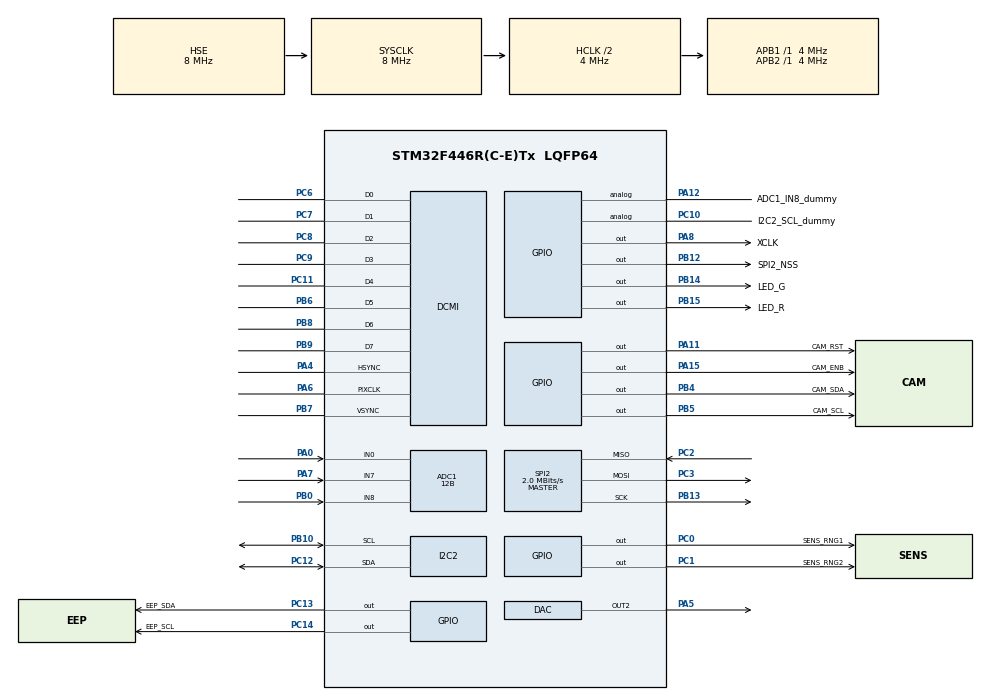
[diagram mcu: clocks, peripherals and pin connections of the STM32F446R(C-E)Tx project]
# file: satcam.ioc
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ADC1.Channel-0\#ChannelRegularConversion=ADC_CHANNEL_0
ADC1.ClockPrescaler=ADC_CLOCK_SYNC_PCLK_DIV2
ADC1.ContinuousConvMode=ENABLE
ADC1.DMAContinuousRequests=DISABLE
ADC1.DataAlign=ADC_DATAALIGN_RIGHT
ADC1.DiscontinuousConvMode=DISABLE
ADC1.EOCSelection=ADC_EOC_SEQ_CONV
ADC1.EnableAnalogWatchDog=false
ADC1.ExternalTrigConvEdge=ADC_EXTERNALTRIGCONVEDGE_NONE
ADC1.InjNumberOfConversion=0
ADC1.NbrOfConversion=1
ADC1.NbrOfConversionFlag=1
ADC1.Rank-0\#ChannelRegularConversion=1
ADC1.Resolution=ADC_RESOLUTION_12B
ADC1.SamplingTime-0\#ChannelRegularConversion=ADC_SAMPLETIME_144CYCLES
ADC1.ScanConvMode=DISABLE
ADC1.master=1
DAC.DAC_OutputBuffer2=DAC_OUTPUTBUFFER_ENABLE
DAC.DAC_Trigger2=DAC_TRIGGER_T6_TRGO
DAC.WaveGeneration2=DISABLE
DCMI.JPEGMode=DCMI_JPEG_ENABLE
DCMI.PCKPolarity=DCMI_PCKPOLARITY_RISING
DCMI.VSPolarity=DCMI_VSPOLARITY_LOW
Dma.DAC2.2.Direction=DMA_MEMORY_TO_PERIPH
Dma.DAC2.2.FIFOMode=DMA_FIFOMODE_ENABLE
Dma.DAC2.2.FIFOThreshold=DMA_FIFO_THRESHOLD_FULL
Dma.DAC2.2.Instance=DMA1_Stream6
Dma.DAC2.2.MemBurst=DMA_MBURST_INC4
Dma.DAC2.2.MemDataAlignment=DMA_MDATAALIGN_BYTE
Dma.DAC2.2.MemInc=DMA_MINC_ENABLE
Dma.DAC2.2.Mode=DMA_CIRCULAR
Dma.DAC2.2.PeriphBurst=DMA_PBURST_SINGLE
Dma.DAC2.2.PeriphDataAlignment=DMA_PDATAALIGN_BYTE
Dma.DAC2.2.PeriphInc=DMA_PINC_DISABLE
Dma.DAC2.2.Priority=DMA_PRIORITY_HIGH
Dma.DCMI.3.Direction=DMA_PERIPH_TO_MEMORY
Dma.DCMI.3.FIFOMode=DMA_FIFOMODE_ENABLE
Dma.DCMI.3.FIFOThreshold=DMA_FIFO_THRESHOLD_FULL
Dma.DCMI.3.Instance=DMA2_Stream1
Dma.DCMI.3.MemBurst=DMA_MBURST_INC4
Dma.DCMI.3.MemDataAlignment=DMA_MDATAALIGN_WORD
Dma.DCMI.3.MemInc=DMA_MINC_ENABLE
Dma.DCMI.3.Mode=DMA_NORMAL
Dma.DCMI.3.PeriphBurst=DMA_PBURST_SINGLE
Dma.DCMI.3.PeriphDataAlignment=DMA_PDATAALIGN_WORD
Dma.DCMI.3.PeriphInc=DMA_PINC_DISABLE
Dma.DCMI.3.Priority=DMA_PRIORITY_HIGH
Dma.Request0=SPI2_RX
Dma.Request1=SPI2_TX
Dma.Request2=DAC2
Dma.Request3=DCMI
Dma.SPI2_RX.0.Direction=DMA_PERIPH_TO_MEMORY
Dma.SPI2_RX.0.FIFOMode=DMA_FIFOMODE_DISABLE
Dma.SPI2_RX.0.Instance=DMA1_Stream3
Dma.SPI2_RX.0.MemDataAlignment=DMA_MDATAALIGN_BYTE
Dma.SPI2_RX.0.MemInc=DMA_MINC_ENABLE
Dma.SPI2_RX.0.Mode=DMA_NORMAL
Dma.SPI2_RX.0.PeriphDataAlignment=DMA_PDATAALIGN_BYTE
Dma.SPI2_RX.0.PeriphInc=DMA_PINC_DISABLE
Dma.SPI2_RX.0.Priority=DMA_PRIORITY_LOW
Dma.SPI2_TX.1.Direction=DMA_MEMORY_TO_PERIPH
Dma.SPI2_TX.1.FIFOMode=DMA_FIFOMODE_DISABLE
Dma.SPI2_TX.1.Instance=DMA1_Stream4
Dma.SPI2_TX.1.MemDataAlignment=DMA_MDATAALIGN_BYTE
Dma.SPI2_TX.1.MemInc=DMA_MINC_ENABLE
Dma.SPI2_TX.1.Mode=DMA_NORMAL
Dma.SPI2_TX.1.PeriphDataAlignment=DMA_PDATAALIGN_BYTE
Dma.SPI2_TX.1.PeriphInc=DMA_PINC_DISABLE
Dma.SPI2_TX.1.Priority=DMA_PRIORITY_LOW
I2C2.NoStretchMode=I2C_NOSTRETCH_DISABLE
I2C2.OwnAddress=0x3C
IWDG.Prescaler=IWDG_PRESCALER_32
IWDG.Reload=2000
Mcu.Family=STM32F4
Mcu.Name=STM32F446R(C-E)Tx
Mcu.Package=LQFP64
NVIC.DCMI_IRQn=true\:1\:0\:true\:false\:true
NVIC.DMA1_Stream3_IRQn=true\:2\:0\:true\:false\:true
NVIC.DMA1_Stream4_IRQn=true\:2\:0\:true\:false\:true
NVIC.DMA1_Stream6_IRQn=true\:1\:0\:true\:false\:true
NVIC.DMA2_Stream1_IRQn=true\:1\:0\:true\:false\:true
NVIC.I2C2_ER_IRQn=true\:0\:0\:false\:false\:true
NVIC.I2C2_EV_IRQn=true\:0\:0\:false\:false\:true
NVIC.PriorityGroup=NVIC_PRIORITYGROUP_2
NVIC.SPI2_IRQn=true\:2\:0\:true\:false\:true
PA0-WKUP.Signal=ADCx_IN0
PA11.GPIO_Label=CAM_RST
PA11.Signal=GPIO_Output
PA12.GPIO_Label=ADC1_IN8_dummy
PA12.Signal=GPIO_Analog
PA13.Mode=Trace_Asynchronous_SW
PA13.Signal=SYS_JTMS-SWDIO
PA14.Mode=Trace_Asynchronous_SW
PA14.Signal=SYS_JTCK-SWCLK
PA15.GPIO_Label=CAM_ENB
PA15.Signal=GPIO_Output
PA4.GPIO_Speed=GPIO_SPEED_FREQ_VERY_HIGH
PA4.Mode=Slave_8_bits_External_Synchro
PA4.Signal=DCMI_HSYNC
PA5.Signal=COMP_DAC2_group
PA6.GPIO_Speed=GPIO_SPEED_FREQ_VERY_HIGH
PA6.Mode=Slave_8_bits_External_Synchro
PA6.Signal=DCMI_PIXCLK
PA7.Signal=ADCx_IN7
PA8.GPIO_Label=XCLK
PA8.GPIO_Speed=GPIO_SPEED_FREQ_VERY_HIGH
PA8.Signal=GPIO_Output
PB0.Signal=ADCx_IN8
PB10.Mode=I2C
PB10.Signal=I2C2_SCL
PB12.GPIO_Label=SPI2_NSS
PB12.GPIO_Speed=GPIO_SPEED_FREQ_VERY_HIGH
PB12.PinState=GPIO_PIN_RESET
PB12.Signal=GPIO_Output
PB13.Mode=Full_Duplex_Master
PB13.Signal=SPI2_SCK
PB14.GPIO_Label=LED_G
PB14.Signal=GPIO_Output
PB15.GPIO_Label=LED_R
PB15.Signal=GPIO_Output
PB3.Mode=Trace_Asynchronous_SW
PB3.Signal=SYS_JTDO-SWO
PB4.GPIO_Label=CAM_SDA
PB4.GPIO_ModeDefaultOutputPP=GPIO_MODE_OUTPUT_OD
PB4.GPIO_PuPd=GPIO_PULLUP
PB4.GPIO_Speed=GPIO_SPEED_FREQ_HIGH
PB4.PinState=GPIO_PIN_SET
PB4.Signal=GPIO_Output
PB5.GPIO_Label=CAM_SCL
PB5.GPIO_ModeDefaultOutputPP=GPIO_MODE_OUTPUT_OD
PB5.GPIO_PuPd=GPIO_PULLUP
PB5.GPIO_Speed=GPIO_SPEED_FREQ_HIGH
PB5.PinState=GPIO_PIN_SET
PB5.Signal=GPIO_Output
PB6.GPIO_Speed=GPIO_SPEED_FREQ_VERY_HIGH
PB6.Mode=Slave_8_bits_External_Synchro
PB6.Signal=DCMI_D5
PB7.GPIO_Speed=GPIO_SPEED_FREQ_VERY_HIGH
PB7.Mode=Slave_8_bits_External_Synchro
PB7.Signal=DCMI_VSYNC
PB8.GPIO_Speed=GPIO_SPEED_FREQ_VERY_HIGH
PB8.Mode=Slave_8_bits_External_Synchro
PB8.Signal=DCMI_D6
PB9.GPIO_Speed=GPIO_SPEED_FREQ_VERY_HIGH
PB9.Mode=Slave_8_bits_External_Synchro
PB9.Signal=DCMI_D7
PC0.GPIO_Label=SENS_RNG1
PC0.Signal=GPIO_Output
PC1.GPIO_Label=SENS_RNG2
PC1.Signal=GPIO_Output
PC10.GPIO_Label=I2C2_SCL_dummy
PC10.Signal=GPIO_Analog
PC11.GPIO_Speed=GPIO_SPEED_FREQ_VERY_HIGH
PC11.Mode=Slave_8_bits_External_Synchro
PC11.Signal=DCMI_D4
PC12.Mode=I2C
PC12.Signal=I2C2_SDA
PC13.GPIO_Label=EEP_SDA
PC13.GPIO_ModeDefaultOutputPP=GPIO_MODE_OUTPUT_OD
PC13.GPIO_PuPd=GPIO_PULLUP
PC13.PinState=GPIO_PIN_SET
PC13.Signal=GPIO_Output
PC14-OSC32_IN.GPIO_Label=EEP_SCL
PC14-OSC32_IN.GPIO_ModeDefaultOutputPP=GPIO_MODE_OUTPUT_OD
PC14-OSC32_IN.GPIO_PuPd=GPIO_PULLUP
PC14-OSC32_IN.PinState=GPIO_PIN_SET
PC14-OSC32_IN.Signal=GPIO_Output
PC2.Mode=Full_Duplex_Master
PC2.Signal=SPI2_MISO
PC3.Mode=Full_Duplex_Master
PC3.Signal=SPI2_MOSI
PC6.GPIO_Speed=GPIO_SPEED_FREQ_VERY_HIGH
PC6.Mode=Slave_8_bits_External_Synchro
PC6.Signal=DCMI_D0
PC7.GPIO_Speed=GPIO_SPEED_FREQ_VERY_HIGH
PC7.Mode=Slave_8_bits_External_Synchro
PC7.Signal=DCMI_D1
PC8.GPIO_Speed=GPIO_SPEED_FREQ_VERY_HIGH
PC8.Mode=Slave_8_bits_External_Synchro
PC8.Signal=DCMI_D2
PC9.GPIO_Speed=GPIO_SPEED_FREQ_VERY_HIGH
PC9.Mode=Slave_8_bits_External_Synchro
PC9.Signal=DCMI_D3
PH0-OSC_IN.Mode=HSE-External-Oscillator
PH0-OSC_IN.Signal=RCC_OSC_IN
PH1-OSC_OUT.Mode=HSE-External-Oscillator
PH1-OSC_OUT.Signal=RCC_OSC_OUT
ProjectManager.HeapSize=0x200
ProjectManager.StackSize=0x400
ProjectManager.TargetToolchain=SW4STM32
RCC.48MHZClocksFreq_Value=84000000
RCC.AHBCLKDivider=RCC_SYSCLK_DIV2
RCC.AHBFreq_Value=4000000
RCC.APB1Freq_Value=4000000
RCC.APB1TimFreq_Value=4000000
RCC.APB2Freq_Value=4000000
RCC.APB2TimFreq_Value=4000000
RCC.CortexFreq_Value=4000000
RCC.HCLKFreq_Value=4000000
RCC.HSE_VALUE=8000000
RCC.HSI_VALUE=16000000
RCC.PLLI2SM=63
RCC.PLLI2SN=50
RCC.PLLM=8
RCC.PLLN=160
RCC.PLLR=7
RCC.PLLSAIM=63
RCC.PLLSAIN=50
RCC.PLLSourceVirtual=RCC_PLLSOURCE_HSE
RCC.PREFETCH_ENABLE=0
RCC.RCC_MCO1Source=RCC_MCO1SOURCE_PLLCLK
RCC.RCC_MCODiv1=RCC_MCODIV_5
RCC.SYSCLKFreq_VALUE=8000000
RCC.SYSCLKSource=RCC_SYSCLKSOURCE_HSE
RCC.USBFreq_Value=80000000
RCC.VCOOutputFreq_Value=160000000
RCC.VDD_VALUE=2.8
SH.ADCx_IN0.0=ADC1_IN0,IN0
SH.ADCx_IN7.0=ADC1_IN7,IN7
SH.ADCx_IN8.0=ADC1_IN8,IN8
SH.COMP_DAC2_group.0=DAC_OUT2,DAC_OUT2
SPI2.CLKPhase=SPI_PHASE_2EDGE
SPI2.CLKPolarity=SPI_POLARITY_HIGH
SPI2.CalculateBaudRate=2.0 MBits/s
SPI2.Mode=SPI_MODE_MASTER
TIM6.Period=49
TIM6.Prescaler=19
TIM6.TIM_MasterOutputTrigger=TIM_TRGO_UPDATE
VP_ADC1_TempSens_Input.Mode=IN-TempSens
VP_CRC_VS_CRC.Mode=CRC_Activate
VP_IWDG_VS_IWDG.Mode=IWDG_Activate
VP_TIM6_VS_ClockSourceINT.Mode=Enable_Timer
board=NUCLEO-F446RE

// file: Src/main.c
/**
  ******************************************************************************
  * File Name          : main.c
  * Description        : Main program body
  ******************************************************************************
  *
  * COPYRIGHT(c) 2020 STMicroelectronics
  *
  * Redistribution and use in source and binary forms, with or without modification,
  * are permitted provided that the following conditions are met:
  *   1. Redistributions of source code must retain the above copyright notice,
  *      this list of conditions and the following disclaimer.
  *   2. Redistributions in binary form must reproduce the above copyright notice,
  *      this list of conditions and the following disclaimer in the documentation
  *      and/or other materials provided with the distribution.
  *   3. Neither the name of STMicroelectronics nor the names of its contributors
  *      may be used to endorse or promote products derived from this software
  *      without specific prior written permission.
  *
  * THIS SOFTWARE IS PROVIDED BY THE COPYRIGHT HOLDERS AND CONTRIBUTORS "AS IS"
  * AND ANY EXPRESS OR IMPLIED WARRANTIES, INCLUDING, BUT NOT LIMITED TO, THE
  * IMPLIED WARRANTIES OF MERCHANTABILITY AND FITNESS FOR A PARTICULAR PURPOSE ARE
  * DISCLAIMED. IN NO EVENT SHALL THE COPYRIGHT HOLDER OR CONTRIBUTORS BE LIABLE
  * FOR ANY DIRECT, INDIRECT, INCIDENTAL, SPECIAL, EXEMPLARY, OR CONSEQUENTIAL
  * DAMAGES (INCLUDING, BUT NOT LIMITED TO, PROCUREMENT OF SUBSTITUTE GOODS OR
  * SERVICES; LOSS OF USE, DATA, OR PROFITS; OR BUSINESS INTERRUPTION) HOWEVER
  * CAUSED AND ON ANY THEORY OF LIABILITY, WHETHER IN CONTRACT, STRICT LIABILITY,
  * OR TORT (INCLUDING NEGLIGENCE OR OTHERWISE) ARISING IN ANY WAY OUT OF THE USE
  * OF THIS SOFTWARE, EVEN IF ADVISED OF THE POSSIBILITY OF SUCH DAMAGE.
  *
  ******************************************************************************
  */
#include "main.h"
#include "stm32f4xx_hal.h"

/* USER CODE BEGIN Includes */
#include "cube.h"

/* USER CODE END Includes */

ADC_HandleTypeDef hadc1;

CRC_HandleTypeDef hcrc;

DAC_HandleTypeDef hdac;
DMA_HandleTypeDef hdma_dac2;

DCMI_HandleTypeDef hdcmi;
DMA_HandleTypeDef hdma_dcmi;

I2C_HandleTypeDef hi2c2;

IWDG_HandleTypeDef hiwdg;

SPI_HandleTypeDef hspi2;
DMA_HandleTypeDef hdma_spi2_rx;
DMA_HandleTypeDef hdma_spi2_tx;

TIM_HandleTypeDef htim6;

/* USER CODE BEGIN PV */
/* Private variables ---------------------------------------------------------*/
uint8_t i2c_delay_value = 255; // I2C half bit delay derived from HCLK

/* USER CODE END PV */

void SystemClock_Config(void);
void Error_Handler(void);
static void MX_GPIO_Init(void);
static void MX_DMA_Init(void);
static void MX_ADC1_Init(void);
static void MX_CRC_Init(void);
static void MX_DAC_Init(void);
static void MX_DCMI_Init(void);
static void MX_I2C2_Init(void);
static void MX_IWDG_Init(void);
static void MX_TIM6_Init(void);
static void MX_SPI2_Init(void);

/* USER CODE BEGIN PFP */
/* Private function prototypes -----------------------------------------------*/

/* USER CODE END PFP */

/* USER CODE BEGIN 0 */

static void i2c_set_freq(uint32_t hclk)
{
    /* calculate ticks count for half bit delay based on HCLK */
    i2c_delay_value = (hclk / 5) / (SOFT_I2C_SPEED * 2);
    if (i2c_delay_value < 2) i2c_delay_value = 1;
    else i2c_delay_value--;
}

void enable_turbo(bool en)
{
    RCC_OscInitTypeDef RCC_OscInitStruct;
    RCC_ClkInitTypeDef RCC_ClkInitStruct;

    if (en) {
        /* enable HSE and PLL */
        RCC_OscInitStruct.OscillatorType = RCC_OSCILLATORTYPE_HSE;
        RCC_OscInitStruct.HSEState = RCC_HSE_ON;
        RCC_OscInitStruct.PLL.PLLState = RCC_PLL_ON;
        RCC_OscInitStruct.PLL.PLLSource = RCC_PLLSOURCE_HSE;
        RCC_OscInitStruct.PLL.PLLM = 8;
        RCC_OscInitStruct.PLL.PLLN = 160;
        RCC_OscInitStruct.PLL.PLLP = RCC_PLLP_DIV2;
        RCC_OscInitStruct.PLL.PLLQ = 2;
        RCC_OscInitStruct.PLL.PLLR = 7;
        HAL_RCC_OscConfig(&RCC_OscInitStruct);

        /* SYSCLK=80MHz, AHB=HCLK=80MHz, APB1=PCLK1=10MHz, APB2=PCLK2=10MHz, 2WS, prefetch enabled */
        RCC_ClkInitStruct.ClockType = RCC_CLOCKTYPE_HCLK|RCC_CLOCKTYPE_SYSCLK|RCC_CLOCKTYPE_PCLK1|RCC_CLOCKTYPE_PCLK2;
        RCC_ClkInitStruct.SYSCLKSource = RCC_SYSCLKSOURCE_PLLCLK;
        RCC_ClkInitStruct.AHBCLKDivider = RCC_SYSCLK_DIV1;
        RCC_ClkInitStruct.APB1CLKDivider = RCC_HCLK_DIV8;
        RCC_ClkInitStruct.APB2CLKDivider = RCC_HCLK_DIV8;
        HAL_RCC_ClockConfig(&RCC_ClkInitStruct, FLASH_LATENCY_2);
        __HAL_FLASH_PREFETCH_BUFFER_ENABLE();

        /* reconfigure dependent timers, clocks, rates */
        HAL_SYSTICK_Config(HAL_RCC_GetHCLKFreq()/1000);
        htim6.Instance->PSC = (20-1);
        i2c_set_freq(HAL_RCC_GetHCLKFreq());
        hi2c2.Instance->CR2 = (hi2c2.Instance->CR2 & ~I2C_CR2_FREQ) | (10);
    }
    else {
        /* SYSCLK=8MHz, AHB=HCLK=4MHz, APB1=PCLK1=4MHz, APB2=PCLK2=4MHz, 0WS, prefetch disabled */
        RCC_ClkInitStruct.ClockType = RCC_CLOCKTYPE_HCLK|RCC_CLOCKTYPE_SYSCLK|RCC_CLOCKTYPE_PCLK1|RCC_CLOCKTYPE_PCLK2;
        RCC_ClkInitStruct.SYSCLKSource = RCC_SYSCLKSOURCE_HSE;
        RCC_ClkInitStruct.AHBCLKDivider = RCC_SYSCLK_DIV2;
        RCC_ClkInitStruct.APB1CLKDivider = RCC_HCLK_DIV1;
        RCC_ClkInitStruct.APB2CLKDivider = RCC_HCLK_DIV1;
        HAL_RCC_ClockConfig(&RCC_ClkInitStruct, FLASH_LATENCY_0);
        __HAL_FLASH_PREFETCH_BUFFER_DISABLE();

        /* reconfigure dependent timers, clocks, rates */
        HAL_SYSTICK_Config(HAL_RCC_GetHCLKFreq()/1000);
        htim6.Instance->PSC = (4-1);
        i2c_set_freq(HAL_RCC_GetHCLKFreq());
        hi2c2.Instance->CR2 = (hi2c2.Instance->CR2 & ~I2C_CR2_FREQ) | (4);

        /* keep HSE, disable PLL */
        RCC_OscInitStruct.OscillatorType = RCC_OSCILLATORTYPE_HSE;
        RCC_OscInitStruct.HSEState = RCC_HSE_ON;
        RCC_OscInitStruct.PLL.PLLState = RCC_PLL_OFF;
        HAL_RCC_OscConfig(&RCC_OscInitStruct);
    }
}

void HAL_Delay(__IO uint32_t Delay)
{
    uint32_t tickstart = 0;
    tickstart = HAL_GetTick();
    while ((HAL_GetTick() - tickstart) < Delay) {
        /* enter SLEEP mode for next 1ms at most */
        HAL_PWR_EnterSLEEPMode(PWR_MAINREGULATOR_ON, PWR_SLEEPENTRY_WFI);
    }
}

/* USER CODE END 0 */

int main(void)
{

  /* MCU Configuration----------------------------------------------------------*/

  /* Reset of all peripherals, Initializes the Flash interface and the Systick. */
  HAL_Init();

  /* Configure the system clock */
  SystemClock_Config();

  /* Initialize all configured peripherals */
  MX_GPIO_Init();
  MX_DMA_Init();
  MX_ADC1_Init();
  MX_CRC_Init();
  MX_DAC_Init();
  MX_DCMI_Init();
  MX_I2C2_Init();
  MX_IWDG_Init();
  MX_TIM6_Init();
  MX_SPI2_Init();

  /* USER CODE BEGIN 2 */

  enable_turbo(false);
  main_satcam();

  /* USER CODE END 2 */

  /* Infinite loop */
  while (1)
  {

  }

}

/** System Clock Configuration
*/
void SystemClock_Config(void)
{

  RCC_OscInitTypeDef RCC_OscInitStruct;
  RCC_ClkInitTypeDef RCC_ClkInitStruct;

    /**Configure the main internal regulator output voltage
    */
  __HAL_RCC_PWR_CLK_ENABLE();

  __HAL_PWR_VOLTAGESCALING_CONFIG(PWR_REGULATOR_VOLTAGE_SCALE3);

    /**Initializes the CPU, AHB and APB busses clocks
    */
  RCC_OscInitStruct.OscillatorType = RCC_OSCILLATORTYPE_LSI|RCC_OSCILLATORTYPE_HSE;
  RCC_OscInitStruct.HSEState = RCC_HSE_ON;
  RCC_OscInitStruct.LSIState = RCC_LSI_ON;
  RCC_OscInitStruct.PLL.PLLState = RCC_PLL_NONE;
  if (HAL_RCC_OscConfig(&RCC_OscInitStruct) != HAL_OK)
  {
    Error_Handler();
  }

    /**Initializes the CPU, AHB and APB busses clocks
    */
  RCC_ClkInitStruct.ClockType = RCC_CLOCKTYPE_HCLK|RCC_CLOCKTYPE_SYSCLK
                              |RCC_CLOCKTYPE_PCLK1|RCC_CLOCKTYPE_PCLK2;
  RCC_ClkInitStruct.SYSCLKSource = RCC_SYSCLKSOURCE_HSE;
  RCC_ClkInitStruct.AHBCLKDivider = RCC_SYSCLK_DIV2;
  RCC_ClkInitStruct.APB1CLKDivider = RCC_HCLK_DIV1;
  RCC_ClkInitStruct.APB2CLKDivider = RCC_HCLK_DIV1;

  if (HAL_RCC_ClockConfig(&RCC_ClkInitStruct, FLASH_LATENCY_0) != HAL_OK)
  {
    Error_Handler();
  }

    /**Configure the Systick interrupt time
    */
  HAL_SYSTICK_Config(HAL_RCC_GetHCLKFreq()/1000);

    /**Configure the Systick
    */
  HAL_SYSTICK_CLKSourceConfig(SYSTICK_CLKSOURCE_HCLK);

  /* SysTick_IRQn interrupt configuration */
  HAL_NVIC_SetPriority(SysTick_IRQn, 0, 0);
}

/* ADC1 init function */
static void MX_ADC1_Init(void)
{

  ADC_ChannelConfTypeDef sConfig;

    /**Configure the global features of the ADC (Clock, Resolution, Data Alignment and number of conversion)
    */
  hadc1.Instance = ADC1;
  hadc1.Init.ClockPrescaler = ADC_CLOCK_SYNC_PCLK_DIV2;
  hadc1.Init.Resolution = ADC_RESOLUTION_12B;
  hadc1.Init.ScanConvMode = DISABLE;
  hadc1.Init.ContinuousConvMode = ENABLE;
  hadc1.Init.DiscontinuousConvMode = DISABLE;
  hadc1.Init.ExternalTrigConvEdge = ADC_EXTERNALTRIGCONVEDGE_NONE;
  hadc1.Init.DataAlign = ADC_DATAALIGN_RIGHT;
  hadc1.Init.NbrOfConversion = 1;
  hadc1.Init.DMAContinuousRequests = DISABLE;
  hadc1.Init.EOCSelection = ADC_EOC_SEQ_CONV;
  if (HAL_ADC_Init(&hadc1) != HAL_OK)
  {
    Error_Handler();
  }

    /**Configure for the selected ADC regular channel its corresponding rank in the sequencer and its sample time.
    */
  sConfig.Channel = ADC_CHANNEL_0;
  sConfig.Rank = 1;
  sConfig.SamplingTime = ADC_SAMPLETIME_144CYCLES;
  if (HAL_ADC_ConfigChannel(&hadc1, &sConfig) != HAL_OK)
  {
    Error_Handler();
  }

}

/* CRC init function */
static void MX_CRC_Init(void)
{

  hcrc.Instance = CRC;
  if (HAL_CRC_Init(&hcrc) != HAL_OK)
  {
    Error_Handler();
  }

}

/* DAC init function */
static void MX_DAC_Init(void)
{

  DAC_ChannelConfTypeDef sConfig;

    /**DAC Initialization
    */
  hdac.Instance = DAC;
  if (HAL_DAC_Init(&hdac) != HAL_OK)
  {
    Error_Handler();
  }

    /**DAC channel OUT2 config
    */
  sConfig.DAC_Trigger = DAC_TRIGGER_T6_TRGO;
  sConfig.DAC_OutputBuffer = DAC_OUTPUTBUFFER_ENABLE;
  if (HAL_DAC_ConfigChannel(&hdac, &sConfig, DAC_CHANNEL_2) != HAL_OK)
  {
    Error_Handler();
  }

}

/* DCMI init function */
static void MX_DCMI_Init(void)
{

  hdcmi.Instance = DCMI;
  hdcmi.Init.SynchroMode = DCMI_SYNCHRO_HARDWARE;
  hdcmi.Init.PCKPolarity = DCMI_PCKPOLARITY_RISING;
  hdcmi.Init.VSPolarity = DCMI_VSPOLARITY_LOW;
  hdcmi.Init.HSPolarity = DCMI_HSPOLARITY_LOW;
  hdcmi.Init.CaptureRate = DCMI_CR_ALL_FRAME;
  hdcmi.Init.ExtendedDataMode = DCMI_EXTEND_DATA_8B;
  hdcmi.Init.JPEGMode = DCMI_JPEG_ENABLE;
  hdcmi.Init.ByteSelectMode = DCMI_BSM_ALL;
  hdcmi.Init.ByteSelectStart = DCMI_OEBS_ODD;
  hdcmi.Init.LineSelectMode = DCMI_LSM_ALL;
  hdcmi.Init.LineSelectStart = DCMI_OELS_ODD;
  if (HAL_DCMI_Init(&hdcmi) != HAL_OK)
  {
    Error_Handler();
  }

}

/* I2C2 init function */
static void MX_I2C2_Init(void)
{

  hi2c2.Instance = I2C2;
  hi2c2.Init.ClockSpeed = 100000;
  hi2c2.Init.DutyCycle = I2C_DUTYCYCLE_2;
  hi2c2.Init.OwnAddress1 = 120;
  hi2c2.Init.AddressingMode = I2C_ADDRESSINGMODE_7BIT;
  hi2c2.Init.DualAddressMode = I2C_DUALADDRESS_DISABLE;
  hi2c2.Init.OwnAddress2 = 0;
  hi2c2.Init.GeneralCallMode = I2C_GENERALCALL_DISABLE;
  hi2c2.Init.NoStretchMode = I2C_NOSTRETCH_DISABLE;
  if (HAL_I2C_Init(&hi2c2) != HAL_OK)
  {
    Error_Handler();
  }

}

/* IWDG init function */
static void MX_IWDG_Init(void)
{

  hiwdg.Instance = IWDG;
  hiwdg.Init.Prescaler = IWDG_PRESCALER_32;
  hiwdg.Init.Reload = 2000;
  if (HAL_IWDG_Init(&hiwdg) != HAL_OK)
  {
    Error_Handler();
  }

}

/* SPI2 init function */
static void MX_SPI2_Init(void)
{

  hspi2.Instance = SPI2;
  hspi2.Init.Mode = SPI_MODE_MASTER;
  hspi2.Init.Direction = SPI_DIRECTION_2LINES;
  hspi2.Init.DataSize = SPI_DATASIZE_8BIT;
  hspi2.Init.CLKPolarity = SPI_POLARITY_HIGH;
  hspi2.Init.CLKPhase = SPI_PHASE_2EDGE;
  hspi2.Init.NSS = SPI_NSS_SOFT;
  hspi2.Init.BaudRatePrescaler = SPI_BAUDRATEPRESCALER_2;
  hspi2.Init.FirstBit = SPI_FIRSTBIT_MSB;
  hspi2.Init.TIMode = SPI_TIMODE_DISABLE;
  hspi2.Init.CRCCalculation = SPI_CRCCALCULATION_DISABLE;
  hspi2.Init.CRCPolynomial = 10;
  if (HAL_SPI_Init(&hspi2) != HAL_OK)
  {
    Error_Handler();
  }

}

/* TIM6 init function */
static void MX_TIM6_Init(void)
{

  TIM_MasterConfigTypeDef sMasterConfig;

  htim6.Instance = TIM6;
  htim6.Init.Prescaler = 19;
  htim6.Init.CounterMode = TIM_COUNTERMODE_UP;
  htim6.Init.Period = 49;
  if (HAL_TIM_Base_Init(&htim6) != HAL_OK)
  {
    Error_Handler();
  }

  sMasterConfig.MasterOutputTrigger = TIM_TRGO_UPDATE;
  sMasterConfig.MasterSlaveMode = TIM_MASTERSLAVEMODE_DISABLE;
  if (HAL_TIMEx_MasterConfigSynchronization(&htim6, &sMasterConfig) != HAL_OK)
  {
    Error_Handler();
  }

}

static void MX_DMA_Init(void)
{
  /* DMA controller clock enable */
  __HAL_RCC_DMA1_CLK_ENABLE();
  __HAL_RCC_DMA2_CLK_ENABLE();

  /* DMA interrupt init */
  /* DMA1_Stream3_IRQn interrupt configuration */
  HAL_NVIC_SetPriority(DMA1_Stream3_IRQn, 2, 0);
  HAL_NVIC_EnableIRQ(DMA1_Stream3_IRQn);
  /* DMA1_Stream4_IRQn interrupt configuration */
  HAL_NVIC_SetPriority(DMA1_Stream4_IRQn, 2, 0);
  HAL_NVIC_EnableIRQ(DMA1_Stream4_IRQn);
  /* DMA1_Stream6_IRQn interrupt configuration */
  HAL_NVIC_SetPriority(DMA1_Stream6_IRQn, 1, 0);
  HAL_NVIC_EnableIRQ(DMA1_Stream6_IRQn);
  /* DMA2_Stream1_IRQn interrupt configuration */
  HAL_NVIC_SetPriority(DMA2_Stream1_IRQn, 1, 0);
  HAL_NVIC_EnableIRQ(DMA2_Stream1_IRQn);

}

/** Configure pins as
        * Analog
        * Input
        * Output
        * EVENT_OUT
        * EXTI
        * Free pins are configured automatically as Analog (this feature is enabled through
        * the Code Generation settings)
*/
static void MX_GPIO_Init(void)
{

  GPIO_InitTypeDef GPIO_InitStruct;

  /* GPIO Ports Clock Enable */
  __HAL_RCC_GPIOC_CLK_ENABLE();
  __HAL_RCC_GPIOH_CLK_ENABLE();
  __HAL_RCC_GPIOA_CLK_ENABLE();
  __HAL_RCC_GPIOB_CLK_ENABLE();
  __HAL_RCC_GPIOD_CLK_ENABLE();

  /*Configure GPIO pin Output Level */
  HAL_GPIO_WritePin(GPIOC, EEP_SDA_Pin|EEP_SCL_Pin, GPIO_PIN_SET);

  /*Configure GPIO pin Output Level */
  HAL_GPIO_WritePin(GPIOC, SENS_RNG1_Pin|SENS_RNG2_Pin, GPIO_PIN_RESET);

  /*Configure GPIO pin Output Level */
  HAL_GPIO_WritePin(GPIOB, SPI2_NSS_Pin|LED_G_Pin|LED_R_Pin, GPIO_PIN_RESET);

  /*Configure GPIO pin Output Level */
  HAL_GPIO_WritePin(GPIOA, XCLK_Pin|CAM_RST_Pin|CAM_ENB_Pin, GPIO_PIN_RESET);

  /*Configure GPIO pin Output Level */
  HAL_GPIO_WritePin(GPIOB, CAM_SDA_Pin|CAM_SCL_Pin, GPIO_PIN_SET);

  /*Configure GPIO pins : EEP_SDA_Pin EEP_SCL_Pin */
  GPIO_InitStruct.Pin = EEP_SDA_Pin|EEP_SCL_Pin;
  GPIO_InitStruct.Mode = GPIO_MODE_OUTPUT_OD;
  GPIO_InitStruct.Pull = GPIO_PULLUP;
  GPIO_InitStruct.Speed = GPIO_SPEED_FREQ_LOW;
  HAL_GPIO_Init(GPIOC, &GPIO_InitStruct);

  /*Configure GPIO pins : PC15 PC4 PC5 I2C2_SCL_dummy_Pin */
  GPIO_InitStruct.Pin = GPIO_PIN_15|GPIO_PIN_4|GPIO_PIN_5|I2C2_SCL_dummy_Pin;
  GPIO_InitStruct.Mode = GPIO_MODE_ANALOG;
  GPIO_InitStruct.Pull = GPIO_NOPULL;
  HAL_GPIO_Init(GPIOC, &GPIO_InitStruct);

  /*Configure GPIO pins : SENS_RNG1_Pin SENS_RNG2_Pin */
  GPIO_InitStruct.Pin = SENS_RNG1_Pin|SENS_RNG2_Pin;
  GPIO_InitStruct.Mode = GPIO_MODE_OUTPUT_PP;
  GPIO_InitStruct.Pull = GPIO_NOPULL;
  GPIO_InitStruct.Speed = GPIO_SPEED_FREQ_LOW;
  HAL_GPIO_Init(GPIOC, &GPIO_InitStruct);

  /*Configure GPIO pins : PA1 PA2 PA3 PA9
                           PA10 ADC1_IN8_dummy_Pin */
  GPIO_InitStruct.Pin = GPIO_PIN_1|GPIO_PIN_2|GPIO_PIN_3|GPIO_PIN_9
                          |GPIO_PIN_10|ADC1_IN8_dummy_Pin;
  GPIO_InitStruct.Mode = GPIO_MODE_ANALOG;
  GPIO_InitStruct.Pull = GPIO_NOPULL;
  HAL_GPIO_Init(GPIOA, &GPIO_InitStruct);

  /*Configure GPIO pins : PB1 PB2 */
  GPIO_InitStruct.Pin = GPIO_PIN_1|GPIO_PIN_2;
  GPIO_InitStruct.Mode = GPIO_MODE_ANALOG;
  GPIO_InitStruct.Pull = GPIO_NOPULL;
  HAL_GPIO_Init(GPIOB, &GPIO_InitStruct);

  /*Configure GPIO pin : SPI2_NSS_Pin */
  GPIO_InitStruct.Pin = SPI2_NSS_Pin;
  GPIO_InitStruct.Mode = GPIO_MODE_OUTPUT_PP;
  GPIO_InitStruct.Pull = GPIO_NOPULL;
  GPIO_InitStruct.Speed = GPIO_SPEED_FREQ_VERY_HIGH;
  HAL_GPIO_Init(SPI2_NSS_GPIO_Port, &GPIO_InitStruct);

  /*Configure GPIO pins : LED_G_Pin LED_R_Pin */
  GPIO_InitStruct.Pin = LED_G_Pin|LED_R_Pin;
  GPIO_InitStruct.Mode = GPIO_MODE_OUTPUT_PP;
  GPIO_InitStruct.Pull = GPIO_NOPULL;
  GPIO_InitStruct.Speed = GPIO_SPEED_FREQ_LOW;
  HAL_GPIO_Init(GPIOB, &GPIO_InitStruct);

  /*Configure GPIO pin : XCLK_Pin */
  GPIO_InitStruct.Pin = XCLK_Pin;
  GPIO_InitStruct.Mode = GPIO_MODE_OUTPUT_PP;
  GPIO_InitStruct.Pull = GPIO_NOPULL;
  GPIO_InitStruct.Speed = GPIO_SPEED_FREQ_VERY_HIGH;
  HAL_GPIO_Init(XCLK_GPIO_Port, &GPIO_InitStruct);

  /*Configure GPIO pins : CAM_RST_Pin CAM_ENB_Pin */
  GPIO_InitStruct.Pin = CAM_RST_Pin|CAM_ENB_Pin;
  GPIO_InitStruct.Mode = GPIO_MODE_OUTPUT_PP;
  GPIO_InitStruct.Pull = GPIO_NOPULL;
  GPIO_InitStruct.Speed = GPIO_SPEED_FREQ_LOW;
  HAL_GPIO_Init(GPIOA, &GPIO_InitStruct);

  /*Configure GPIO pin : PD2 */
  GPIO_InitStruct.Pin = GPIO_PIN_2;
  GPIO_InitStruct.Mode = GPIO_MODE_ANALOG;
  GPIO_InitStruct.Pull = GPIO_NOPULL;
  HAL_GPIO_Init(GPIOD, &GPIO_InitStruct);

  /*Configure GPIO pins : CAM_SDA_Pin CAM_SCL_Pin */
  GPIO_InitStruct.Pin = CAM_SDA_Pin|CAM_SCL_Pin;
  GPIO_InitStruct.Mode = GPIO_MODE_OUTPUT_OD;
  GPIO_InitStruct.Pull = GPIO_PULLUP;
  GPIO_InitStruct.Speed = GPIO_SPEED_FREQ_HIGH;
  HAL_GPIO_Init(GPIOB, &GPIO_InitStruct);

}

void Error_Handler(void)
{
  /* USER CODE BEGIN Error_Handler */

  // just return - try to recover and continue

  /* USER CODE END Error_Handler */
}

/************************ (C) COPYRIGHT STMicroelectronics *****END OF FILE****/
